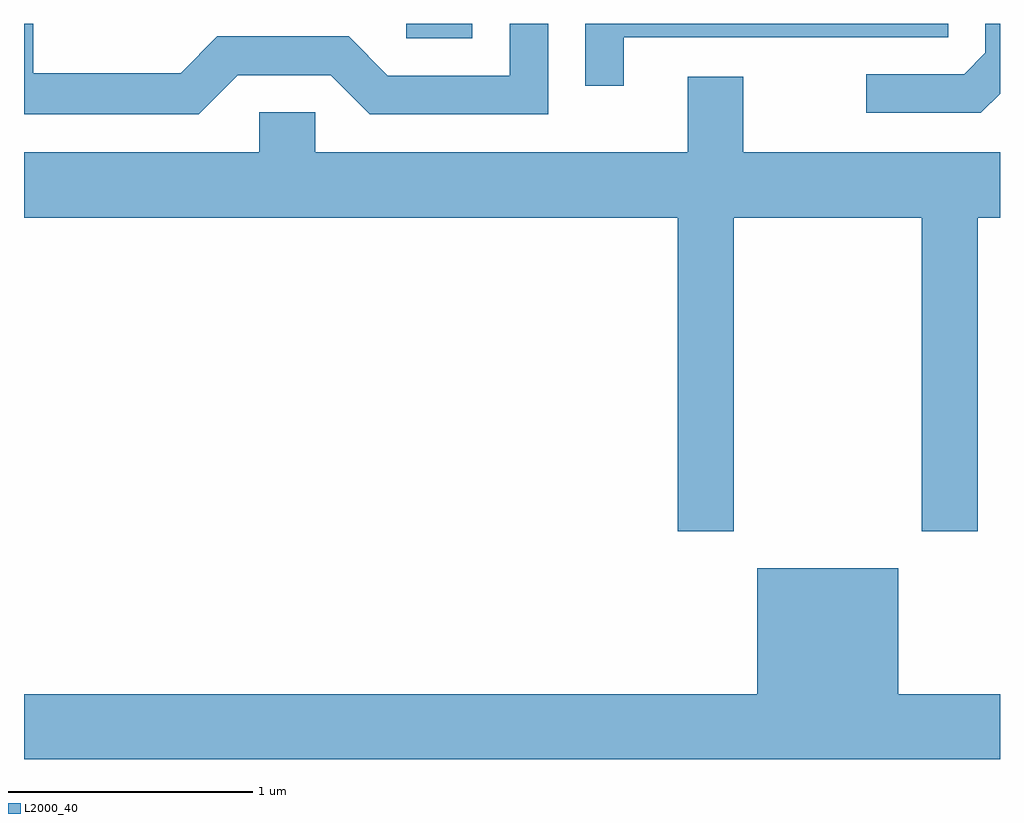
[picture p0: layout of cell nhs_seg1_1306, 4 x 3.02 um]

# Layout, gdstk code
import gdstk
lib = gdstk.Library(unit=1e-6, precision=1e-09)
def R(c, l, rs):  # rectangles x0, y0, x1, y1
    for r in rs: c.add(gdstk.rectangle(r[:2], r[2:], *l))
def P(c, l, *ps):  # polygons
    for p in ps: c.add(gdstk.Polygon(p, *l))
L2000_40 = (2000, 40)

nhs_seg1_1306 = lib.new_cell('nhs_seg1_1306')
R(nhs_seg1_1306, L2000_40, [(227.178,893.651,227.449,893.712)])
P(nhs_seg1_1306, L2000_40, [(226.487,893.501),(226.869,893.501),(227.029,893.341),(227.759,893.341),(227.759,893.712),(227.601,893.712),(227.601,893.499),(227.102,893.499),(226.942,893.659),(226.404,893.659),(226.254,893.509),(225.649,893.509),(225.649,893.712),(225.611,893.712),(225.611,893.341),(226.327,893.341)],
  [(229.611,893.425),(229.611,893.712),(229.551,893.712),(229.551,893.592),(229.464,893.504),(229.063,893.504),(229.063,893.346),(229.532,893.346)],
  [(228.069,893.656),(229.399,893.656),(229.399,893.712),(227.911,893.712),(227.911,893.458),(228.069,893.458)],
  [(228.519,892.916),(229.291,892.916),(229.291,891.631),(229.519,891.631),(229.519,892.916),(229.611,892.916),(229.611,893.184),(228.559,893.184),(228.559,893.494),(228.331,893.494),(228.331,893.184),(226.804,893.184),(226.804,893.349),(226.576,893.349),(226.576,893.184),(225.611,893.184),(225.611,892.916),(228.291,892.916),(228.291,891.631),(228.519,891.631)],
  [(229.611,890.964),(229.194,890.964),(229.194,891.479),(228.616,891.479),(228.616,890.964),(225.611,890.964),(225.611,890.696),(229.611,890.696)])

lib.write_gds('nhs_seg1_1306.gds')
